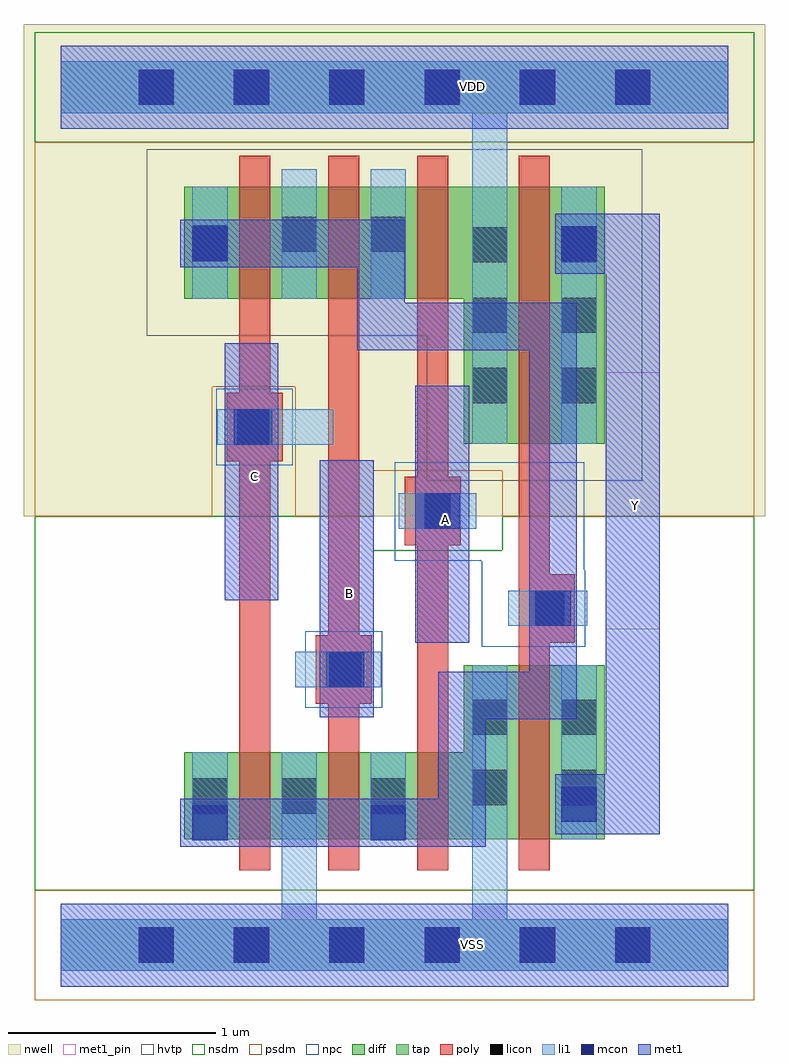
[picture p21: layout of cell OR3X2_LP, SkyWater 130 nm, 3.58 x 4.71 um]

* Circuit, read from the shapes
.subckt OR3X2_LP A B C VDD VSS Y
XM1 VSS C n1 VSS sky130_fd_pr__nfet_01v8 w=0.42 l=0.15
XM2 n1 B VSS VSS sky130_fd_pr__nfet_01v8 w=0.42 l=0.15
XM3 VSS A n1 VSS sky130_fd_pr__nfet_01v8 w=0.42 l=0.15
XM4 Y n1 VSS VSS sky130_fd_pr__nfet_01v8 w=0.84 l=0.15
XM5 n2 C n1 VDD sky130_fd_pr__pfet_01v8_hvt w=0.54 l=0.15
XM6 n3 B n2 VDD sky130_fd_pr__pfet_01v8_hvt w=0.54 l=0.15
XM7 VDD A n3 VDD sky130_fd_pr__pfet_01v8_hvt w=0.54 l=0.15
XM8 Y n1 VDD VDD sky130_fd_pr__pfet_01v8_hvt w=1.24 l=0.15
.ends

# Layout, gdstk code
from math import pi, radians
import gdstk
lib = gdstk.Library(unit=1e-6, precision=1e-09)
def R(c, l, rs):  # rectangles x0, y0, x1, y1
    for r in rs: c.add(gdstk.rectangle(r[:2], r[2:], *l))
def A(c, l, x, y, w, h, nx, ny, dx, dy):  # array of equal rectangles
    R(c, l, [(x+i*dx, y+j*dy, x+i*dx+w, y+j*dy+h) for i in range(nx) for j in range(ny)])
def P(c, l, *ps):  # polygons
    for p in ps: c.add(gdstk.Polygon(p, *l))
nwell = (64, 20)
diff = (65, 20)
tap = (65, 44)
poly = (66, 20)
licon = (66, 44)
li1 = (67, 20)
mcon = (67, 44)
met1_pin = (68, 16)
met1 = (68, 20)
hvtp = (78, 44)
nsdm = (93, 44)
psdm = (94, 20)
npc = (95, 20)

l1m1_c_cdns_758729379651 = lib.new_cell('L1M1_C_CDNS_7587293796513')
R(l1m1_c_cdns_758729379651, li1, [(-0.085,-0.085,0.085,0.165)])
R(l1m1_c_cdns_758729379651, mcon, [(-0.085,-0.085,0.085,0.085)])
R(l1m1_c_cdns_758729379651, met1, [(-0.115,-0.145,0.115,0.145)])

l1m1_c_cdns_758729379655 = lib.new_cell('L1M1_C_CDNS_758729379655')
R(l1m1_c_cdns_758729379655, li1, [(-0.085,-0.165,0.085,0.165)])
R(l1m1_c_cdns_758729379655, mcon, [(-0.085,-0.085,0.085,0.085)])
R(l1m1_c_cdns_758729379655, met1, [(-0.115,-0.145,0.115,0.145)])

pyl1con_c_cdns_758729379 = lib.new_cell('PYL1CON_C_CDNS_758729379653')
R(pyl1con_c_cdns_758729379, poly, [(-0.135,-0.165,0.135,0.165)])
R(pyl1con_c_cdns_758729379, licon, [(-0.085,-0.085,0.085,0.085)])
R(pyl1con_c_cdns_758729379, npc, [(-0.185,-0.185,0.185,0.185)])

l1m1_c_cdns_758729379654 = lib.new_cell('L1M1_C_CDNS_758729379654')
R(l1m1_c_cdns_758729379654, li1, [(-0.165,-0.085,0.165,0.085)])
R(l1m1_c_cdns_758729379654, mcon, [(-0.085,-0.085,0.085,0.085)])
R(l1m1_c_cdns_758729379654, met1, [(-0.115,-0.145,0.115,0.145)])

l1m1_c_cdns_758729379652 = lib.new_cell('L1M1_C_CDNS_758729379652')
R(l1m1_c_cdns_758729379652, li1, [(-0.085,-0.165,0.085,0.165)])
R(l1m1_c_cdns_758729379652, mcon, [(-0.085,-0.085,0.085,0.085)])
R(l1m1_c_cdns_758729379652, met1, [(-0.145,-0.115,0.145,0.115)])

licondiff_c_cdns_7587293 = lib.new_cell('LICONDIFF_C_CDNS_758729379657')
R(licondiff_c_cdns_7587293, diff, [(-0.125,-0.145,0.125,0.145)])
R(licondiff_c_cdns_7587293, licon, [(-0.085,-0.085,0.085,0.085), (-0.085,-0.085,0.085,0.085)])

l1m1_c_cdns_758729379650 = lib.new_cell('L1M1_C_CDNS_758729379650')
R(l1m1_c_cdns_758729379650, li1, [(-0.085,-0.085,0.085,0.165)])
R(l1m1_c_cdns_758729379650, mcon, [(-0.085,-0.085,0.085,0.085)])
R(l1m1_c_cdns_758729379650, met1, [(-0.145,-0.115,0.145,0.115)])

or3x2_lp = lib.new_cell('OR3X2_LP')
R(or3x2_lp, nwell, [(-0.18,2.07,3.4,4.445)])
P(or3x2_lp, diff, [(2.625,3.66),(0.595,3.66),(0.595,3.12),(1.945,3.12),(1.945,2.42),(2.625,2.42)],
  [(2.625,1.35),(1.945,1.35),(1.945,0.93),(0.595,0.93),(0.595,0.51),(2.625,0.51)])
A(or3x2_lp, poly, 0.86, 0.36, 0.15, 3.45, 3, 1, 0.43, 0)
R(or3x2_lp, poly, [(2.21,0.36,2.36,3.81)])
A(or3x2_lp, licon, 0.375, -0.085, 0.17, 0.17, 6, 2, 0.46, 4.14)
A(or3x2_lp, licon, 0.635, 0.635, 0.17, 0.17, 3, 1, 0.43, 0)
A(or3x2_lp, licon, 1.985, 2.615, 0.17, 0.17, 1, 3, 0, 0.34)
A(or3x2_lp, licon, 2.415, 2.615, 0.17, 0.17, 1, 3, 0, 0.34)
R(or3x2_lp, licon, [(1.985,0.675,2.155,0.845), (2.415,0.675,2.585,0.845), (1.985,1.015,2.155,1.185), (2.415,1.015,2.585,1.185), (0.635,3.305,0.805,3.475)])
R(or3x2_lp, li1, [(0.635,0.51,0.805,0.93), (1.495,0.51,1.665,0.93), (2.415,0.51,2.585,1.35), (2.415,2.42,2.585,3.66), (0.635,3.12,0.805,3.66)])
P(or3x2_lp, li1, [(3.22,4.265),(0,4.265),(0,4.015),(1.985,4.015),(1.985,2.42),(2.155,2.42),(2.155,4.015),(3.22,4.015)],
  [(3.22,0.125),(2.155,0.125),(2.155,1.35),(1.985,1.35),(1.985,0.125),(1.235,0.125),(1.235,0.93),(1.065,0.93),(1.065,0.125),(0,0.125),(0,-0.125),(3.22,-0.125)])
A(or3x2_lp, mcon, 0.375, -0.085, 0.17, 0.17, 6, 2, 0.46, 4.14)
R(or3x2_lp, met1_pin, [(1.25,1.1,1.51,2.34), (1.71,1.46,1.97,2.7), (2.63,1.525,2.89,2.765), (0.79,1.665,1.05,2.905)])
P(or3x2_lp, met1, [(2.89,3.53),(2.5,3.53),(2.5,3.24),(2.63,3.24),(2.63,0.825),(2.47,0.825),(2.47,0.535),(2.89,0.535)])
P(or3x2_lp, hvtp, [(2.805,3.84),(0.415,3.84),(0.415,2.94),(1.765,2.94),(1.765,2.24),(2.805,2.24)])
R(or3x2_lp, nsdm, [(-0.125,3.875,3.345,4.405)])
P(or3x2_lp, nsdm, [(3.345,2.07),(2.13,2.07),(2.13,1.905),(1.51,1.905),(1.51,2.07),(-0.125,2.07),(-0.125,0.265),(3.345,0.265)])
R(or3x2_lp, psdm, [(-0.125,-0.265,3.345,0.265)])
P(or3x2_lp, psdm, [(3.345,3.875),(-0.125,3.875),(-0.125,2.07),(0.73,2.07),(0.73,2.695),(1.13,2.695),(1.13,2.07),(1.51,2.07),(1.51,2.29),(2.13,2.29),(2.13,2.07),(3.345,2.07)])
P(or3x2_lp, npc, [(2.525,2.33),(1.61,2.33),(1.61,1.855),(2.03,1.855),(2.03,1.44),(2.525,1.44)])
or3x2_lp.add(gdstk.FlexPath([(1.215,1.33),(1.38,1.33)], 0.17, ends=(0.085, 0), simple_path=True, layer=67, datatype=20))  # li1
or3x2_lp.add(gdstk.FlexPath([(0.77,2.5),(1.315,2.5)], 0.17, ends="flush", simple_path=True, layer=67, datatype=20))  # li1
or3x2_lp.add(gdstk.FlexPath([(2.16,1.625),(2.515,1.625)], 0.17, ends="flush", simple_path=True, layer=67, datatype=20))  # li1
or3x2_lp.add(gdstk.FlexPath([(1.15,3.12),(1.15,3.745)], 0.17, ends="flush", simple_path=True, layer=67, datatype=20))  # li1
or3x2_lp.add(gdstk.FlexPath([(1.58,3.12),(1.58,3.745)], 0.17, ends="flush", simple_path=True, layer=67, datatype=20))  # li1
or3x2_lp.add(gdstk.FlexPath([(1.84,2.095),(1.63,2.095)], 0.17, ends="flush", simple_path=True, layer=67, datatype=20))  # li1
or3x2_lp.add(gdstk.FlexPath([(0,4.14),(3.22,4.14)], 0.4, ends="flush", simple_path=True, layer=68, datatype=20))  # met1
or3x2_lp.add(gdstk.FlexPath([(0,0),(3.22,0)], 0.4, ends="flush", simple_path=True, layer=68, datatype=20))  # met1
or3x2_lp.add(gdstk.FlexPath([(0.92,1.665),(0.92,2.905)], 0.26, ends="flush", simple_path=True, layer=68, datatype=20))  # met1
or3x2_lp.add(gdstk.FlexPath([(1.38,1.1),(1.38,2.34)], 0.26, ends="flush", simple_path=True, layer=68, datatype=20))  # met1
or3x2_lp.add(gdstk.FlexPath([(1.84,1.46),(1.84,2.7)], 0.26, ends="flush", simple_path=True, layer=68, datatype=20))  # met1
or3x2_lp.add(gdstk.FlexPath([(0.735,3.385),(1.545,3.385),(1.545,2.985),(2.375,2.985),(2.375,1.205),(1.935,1.205),(1.935,0.59),(0.72,0.59)], 0.23, ends="flush", simple_path=True, layer=68, datatype=20))  # met1
or3x2_lp.add(gdstk.FlexPath([(0,0),(3.22,0)], 0.4, ends="flush", simple_path=True, layer=68, datatype=16))  # met1_pin
or3x2_lp.add(gdstk.FlexPath([(0,4.14),(3.22,4.14)], 0.4, ends="flush", simple_path=True, layer=68, datatype=16))  # met1_pin
or3x2_lp.add(gdstk.FlexPath([(0,4.14),(3.22,4.14)], 0.25, ends="flush", simple_path=True, layer=65, datatype=44))  # tap
or3x2_lp.add(gdstk.FlexPath([(0,0),(3.22,0)], 0.25, ends="flush", simple_path=True, layer=65, datatype=44))  # tap
or3x2_lp.add(gdstk.Reference(l1m1_c_cdns_758729379651, (2.5,0.68)))
or3x2_lp.add(gdstk.Reference(l1m1_c_cdns_758729379655, (2.5,3.385)))
or3x2_lp.add(gdstk.Reference(pyl1con_c_cdns_758729379, (0.935,2.5), rotation=pi, x_reflection=True))
or3x2_lp.add(gdstk.Reference(pyl1con_c_cdns_758729379, (1.365,1.33), rotation=pi))
or3x2_lp.add(gdstk.Reference(pyl1con_c_cdns_758729379, (1.795,2.095), rotation=pi))
or3x2_lp.add(gdstk.Reference(pyl1con_c_cdns_758729379, (2.345,1.625)))
or3x2_lp.add(gdstk.Reference(l1m1_c_cdns_758729379654, (1.38,1.33), x_reflection=True))
or3x2_lp.add(gdstk.Reference(l1m1_c_cdns_758729379654, (1.84,2.095), x_reflection=True))
or3x2_lp.add(gdstk.Reference(l1m1_c_cdns_758729379654, (2.375,1.625)))
or3x2_lp.add(gdstk.Reference(l1m1_c_cdns_758729379654, (0.92,2.5), x_reflection=True))
or3x2_lp.add(gdstk.Reference(l1m1_c_cdns_758729379652, (0.72,3.385)))
or3x2_lp.add(gdstk.Reference(licondiff_c_cdns_7587293, (1.15,3.43)))
or3x2_lp.add(gdstk.Reference(licondiff_c_cdns_7587293, (1.58,3.43)))
or3x2_lp.add(gdstk.Reference(l1m1_c_cdns_758729379650, (0.72,0.59)))
or3x2_lp.add(gdstk.Reference(l1m1_c_cdns_758729379650, (1.58,0.59)))
or3x2_lp.add(gdstk.Label('VSS', (1.985,0.005), layer=68, texttype=5))
or3x2_lp.add(gdstk.Label('VDD', (1.985,4.145), layer=68, texttype=5))
or3x2_lp.add(gdstk.Label('VDD', (1.985,4.145), layer=68, texttype=5))
or3x2_lp.add(gdstk.Label('B', (1.395,1.695), layer=68, texttype=5))
or3x2_lp.add(gdstk.Label('Y', (2.775,2.12), layer=68, texttype=5))
or3x2_lp.add(gdstk.Label('A', (1.855,2.055), layer=68, texttype=5))
or3x2_lp.add(gdstk.Label('C', (0.935,2.26), layer=68, texttype=5))

lib.write_gds('OR3X2_LP.gds')
